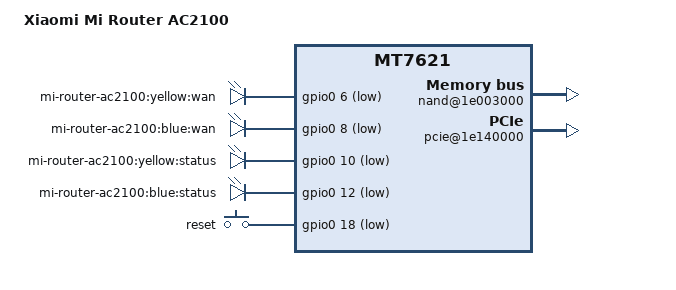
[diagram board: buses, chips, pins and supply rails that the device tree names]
/dts-v1/;

/include/ "mt7621.dtsi"

/ {
	compatible = "xiaomi,mi-router-ac2100", "mediatek,mt7621-soc";
	model = "Xiaomi Mi Router AC2100";

	palmbus@1E000000 {
		spi@b00 {
			status="disabled";
		};
	};

	chosen {
		bootargs = "console=ttyS0,115200";
	};

	nand@1e003000 {
		status = "okay";

		partition@0 {
			label = "Bootloader";
			reg = <0x0 0x80000>;
		};

		partition@80000 {
			label = "Config";
			reg = <0x80000 0x40000>;
		};

		partition@c0000 {
			label = "Bdata";
			reg = <0xc0000 0x40000>;
			read-only;
		};

		factory: partition@100000 {
			label = "factory";
			reg = <0x100000 0x40000>;
			read-only;
		};

		partition@140000 {
			label = "crash";
			reg = <0x140000 0x40000>;
		};

		partition@180000 {
			label = "crash_syslog";
			reg = <0x180000 0x40000>;
		};

		partition@1c0000 {
			label = "reserved0";
			reg = <0x1c0000 0x40000>;
			read-only;
		};

		/* We keep stock xiaomi firmware (kernel0) here */
		partition@200000 {
			label = "kernel_stock";
			reg = <0x200000 0x400000>;
		};

		partition@600000 {
			label = "kernel";
			reg = <0x600000 0x400000>;
		};

		partition@a00000 {
			label = "ubi";
			reg = <0xa00000 0x7580000>;
		};
	};

	pcie@1e140000 {
		status = "okay";

		pcie0 {
			mt76@0,0 {
				reg = <0x0000 0 0 0 0>;
				device_type = "pci";
				mediatek,mtd-eeprom = <&factory 0x8000>;
				mediatek,5ghz = <0>;
			};
		};

		pcie1 {
			mt76@1,0 {
				reg = <0x0000 0 0 0 0>;
				device_type = "pci";
				mediatek,mtd-eeprom = <&factory 0x0000>;
				mediatek,2ghz = <0>;
			};
		};
	};

	ethernet@1e100000 {
		mtd-mac-address = <&factory 0xe000>;
	};	

	gpio-leds {
		compatible = "gpio-leds";

		wan_yellow {
			label = "mi-router-ac2100:yellow:wan";
			gpios = <&gpio0 6 1>;
		};

		wan_blue {
			label = "mi-router-ac2100:blue:wan";
			gpios = <&gpio0 8 1>;
		};

		led_status_yellow: status_yellow {
			label = "mi-router-ac2100:yellow:status";
			gpios = <&gpio0 10 1>;
		};

		led_status_blue: status_blue {
			label = "mi-router-ac2100:blue:status";
			gpios = <&gpio0 12 1>;
		};
	};

	gpio-keys-polled {
		compatible = "gpio-keys-polled";
		#address-cells = <1>;
		#size-cells = <0>;
		poll-interval = <20>;

		reset {
			label = "reset";
			gpios = <&gpio0 18 1>;
			linux,code = <0x198>;
		};
	};

	pinctrl {
		state_default: pinctrl0 {
			gpio {
				ralink,group = "uart2", "uart3", "wdt";
				ralink,function = "gpio";
			};
		};
	};

};
